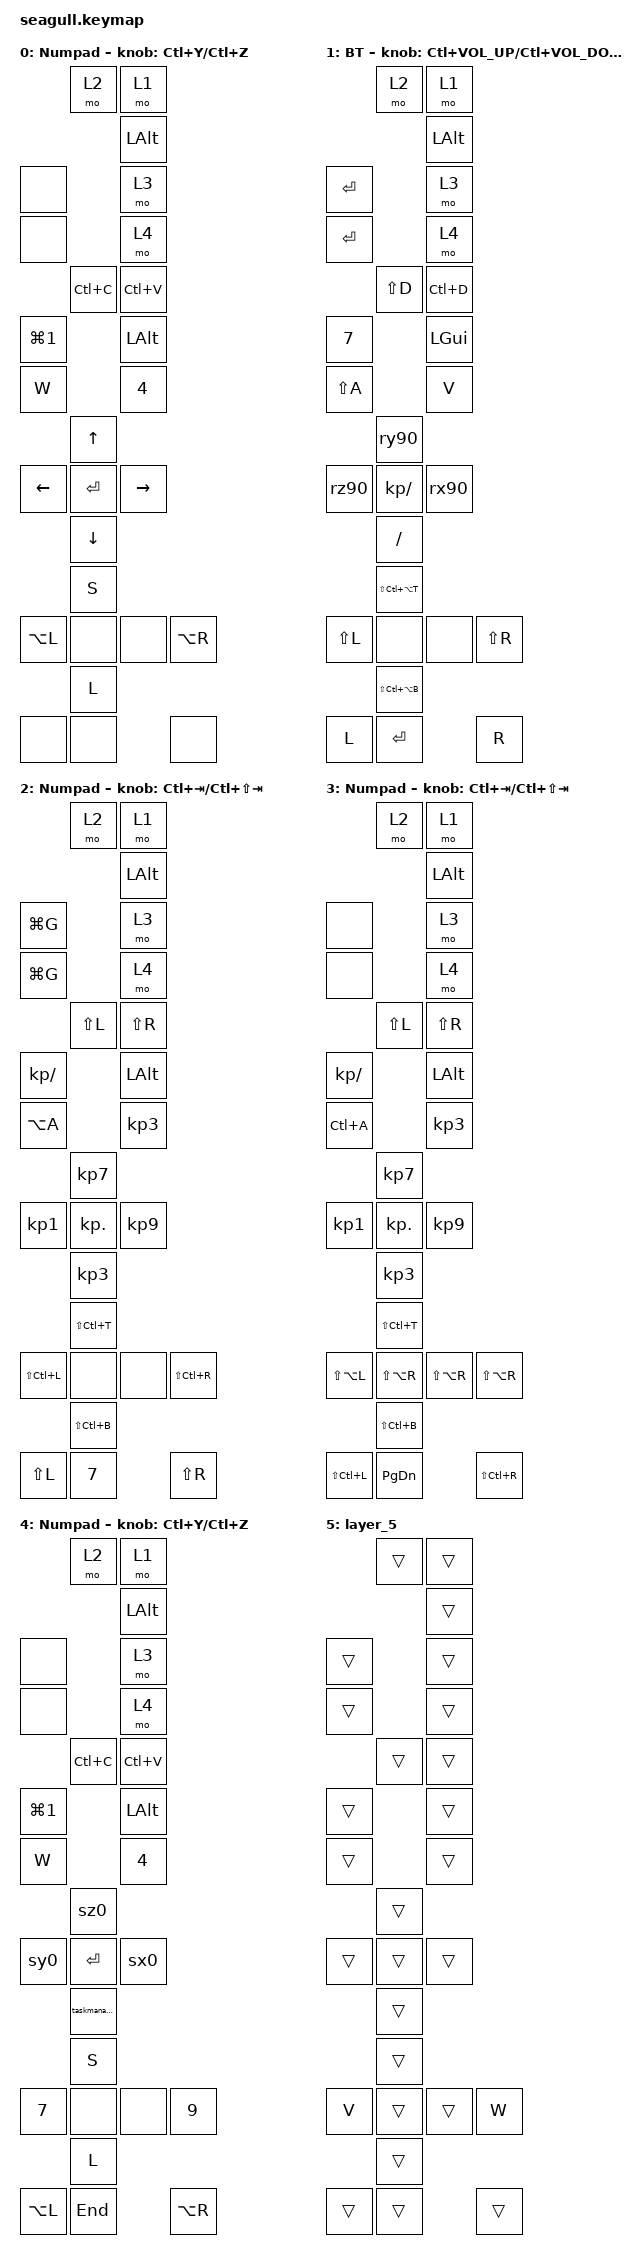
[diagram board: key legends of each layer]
#include <../boards/shields/kyria/boards/nice_nano.overlay>
#include <behaviors.dtsi>
#include <dt-bindings/zmk/keys.h>

#define NUMPAD 0
#define BLUETOOTH 1

/ {
    macros {
        sz0: sz0 {
            compatible = "zmk,behavior-macro";
            #binding-cells = <0>;
            bindings = <&none &kp S &kp Z &kp N0 &kp RET>;
            label = "SZ0";
        };

        sx0: sx0 {
            compatible = "zmk,behavior-macro";
            #binding-cells = <0>;
            bindings = <&none &kp S &kp X &kp N0 &kp RET>;
            label = "SX0";
        };

        sy0: sy0 {
            compatible = "zmk,behavior-macro";
            #binding-cells = <0>;
            bindings = <&none &kp S &kp Y &kp N0 &kp RET>;
            label = "SY0";
        };

        o0: o0 {
            compatible = "zmk,behavior-macro";
            #binding-cells = <0>;
            bindings = <&none &kp N0 &kp RET>;
            label = "O0";
        };

        rz90: rz90 {
            compatible = "zmk,behavior-macro";
            #binding-cells = <0>;
            bindings = <&none &kp R &kp Z &kp N9 &kp N0 &kp RET>;
            label = "RZ90";
        };

        rx90: rx90 {
            compatible = "zmk,behavior-macro";
            #binding-cells = <0>;
            bindings = <&none &kp R &kp X &kp N9 &kp N0 &kp RET>;
            label = "RX90";
        };

        ry90: ry90 {
            compatible = "zmk,behavior-macro";
            #binding-cells = <0>;
            bindings = <&none &kp R &kp Y &kp N9 &kp N0 &kp RET>;
            label = "RY90";
        };

        mum: mum {
            compatible = "zmk,behavior-macro";
            #binding-cells = <0>;
            bindings = <&none &kp>, <&macro_press>, <&kp FSLH>;

            label = "MUM";
        };

        taskmanager: taskmanager {
            compatible = "zmk,behavior-macro";
            #binding-cells = <0>;
            bindings = <&none>, <&macro_press>, <&kp LC(LA(DELETE))>;

            label = "TASKMANAGER";
        };

        w: w {
            compatible = "zmk,behavior-macro";
            #binding-cells = <0>;
            bindings = <&none>;
            label = "W";
        };
    };

    keymap {
        compatible = "zmk,keymap";

        layer_0 {
            display-name = "Numpad";

            // +---------------------------+                      
            // |   7  |   8  |   9  |   *  |                      
            // +------+------+------+------+
            // |   4  |   5  |   6  |   /  |                      
            // +------+------+------+------+-------+     
            // |   1  |   2  |   3  |   *  | L-BT  |                     
            // +------+------+------+------+-------+    
            // |   0  |   .  |  +   |   =  |                          
            // +------+------+------+------+  

            bindings = <
                       &mo 2      &mo 1
                                  &kp LALT

&none                             &mo 3
&none                             &mo 4
            &kp LC(C)  &kp LC(V)
&kp LG(N1)                        &kp LALT
&kp W                             &kp N4

            &kp UP
&kp LEFT    &kp RET    &kp RIGHT
            &kp DOWN

                       &kp S
&kp LA(L)   &none                 &none     &kp LA(R)
                       &kp L

&none                  &none                &none
            >;

            sensor-bindings = <&inc_dec_kp LC(Y) LC(Z)>;
        };

        layer_bluetooth {
            display-name = "BT";

            // +---------------------------+                      
            // |CLEAR |      |      |BTLDR |                      
            // +------+------+------+------+
            // |      |      |      |      |                      
            // +------+------+------+------+-------+     
            // | PF1  | PF2  |  PF3 |      | L-BT  |                      
            // +------+------+------+------+-------+    
            // |      |      |      |      |                          
            // +------+------+------+------+     

            bindings = <
                          &mo 2              &mo 1
                                             &kp LALT

&kp ENTER                                    &mo 3
&kp RET                                      &mo 4
           &kp LS(D)      &kp LC(D)
&kp N7                                       &kp LGUI
&kp LS(A)                                    &kp V

           &ry90
&rz90      &kp KP_DIVIDE  &rx90
           &kp SLASH

                          &kp LS(LC(LA(T)))
&kp LS(L)  &none                             &none     &kp LS(R)
                          &kp LS(LC(LA(B)))

&kp L                     &kp RET                      &kp R
            >;

            sensor-bindings = <&inc_dec_kp LC(C_VOLUME_UP) LC(C_VOLUME_DOWN)>;
        };

        layer_2 {
            display-name = "Numpad";
            bindings = <
                                  &mo 2            &mo 1
                                                   &kp LALT

&kp LG(G)                                          &mo 3
&kp LG(G)                                          &mo 4
                 &kp LS(L)        &kp LS(R)
&kp KP_DIVIDE                                      &kp LALT
&kp LA(A)                                          &kp KP_N3

                 &kp KP_NUMBER_7
&kp KP_NUMBER_1  &kp KP_DOT       &kp KP_NUMBER_9
                 &kp KP_NUMBER_3

                                  &kp LS(LC(T))
&kp LS(LC(L))    &none                             &none      &kp LS(LC(R))
                                  &kp LS(LC(B))

&kp LS(L)                         &kp N7                      &kp LS(R)
            >;

            sensor-bindings = <&inc_dec_kp LC(TAB) LC(LS(TAB))>;
        };

        layer_3 {
            display-name = "Numpad";
            bindings = <
                                  &mo 2            &mo 1
                                                   &kp LALT

&none                                              &mo 3
&none                                              &mo 4
                 &kp LS(L)        &kp LS(R)
&kp KP_DIVIDE                                      &kp LALT
&kp LC(A)                                          &kp KP_N3

                 &kp KP_NUMBER_7
&kp KP_NUMBER_1  &kp KP_DOT       &kp KP_NUMBER_9
                 &kp KP_NUMBER_3

                                  &kp LS(LC(T))
&kp LS(LA(L))    &kp LS(LA(R))                     &kp LS(LA(R))  &kp LS(LA(R))
                                  &kp LS(LC(B))

&kp LS(LC(L))                     &kp PG_DN                       &kp LS(LC(R))
            >;

            sensor-bindings = <&inc_dec_kp LC(TAB) LC(LS(TAB))>;
        };

        layer_4 {
            display-name = "Numpad";
            bindings = <
                          &mo 2      &mo 1
                                     &kp LALT

&none                                &mo 3
&none                                &mo 4
            &kp LC(C)     &kp LC(V)
&kp LG(N1)                           &kp LALT
&kp W                                &kp N4

            &sz0
&sy0        &kp RET       &sx0
            &taskmanager

                          &kp S
&kp N7      &none                    &none     &kp N9
                          &kp L

&kp LA(L)                 &kp END              &kp LA(R)
            >;

            sensor-bindings = <&inc_dec_kp LC(Y) LC(Z)>;
        };

        layer_5 {
            bindings = <
                &trans  &trans
                        &trans

&trans                  &trans
&trans                  &trans
        &trans  &trans
&trans                  &trans
&trans                  &trans

        &trans
&trans  &trans  &trans
        &trans

                &trans
&kp V   &trans          &trans  &kp W
                &trans

&trans          &trans          &trans
            >;
        };
    };
};
